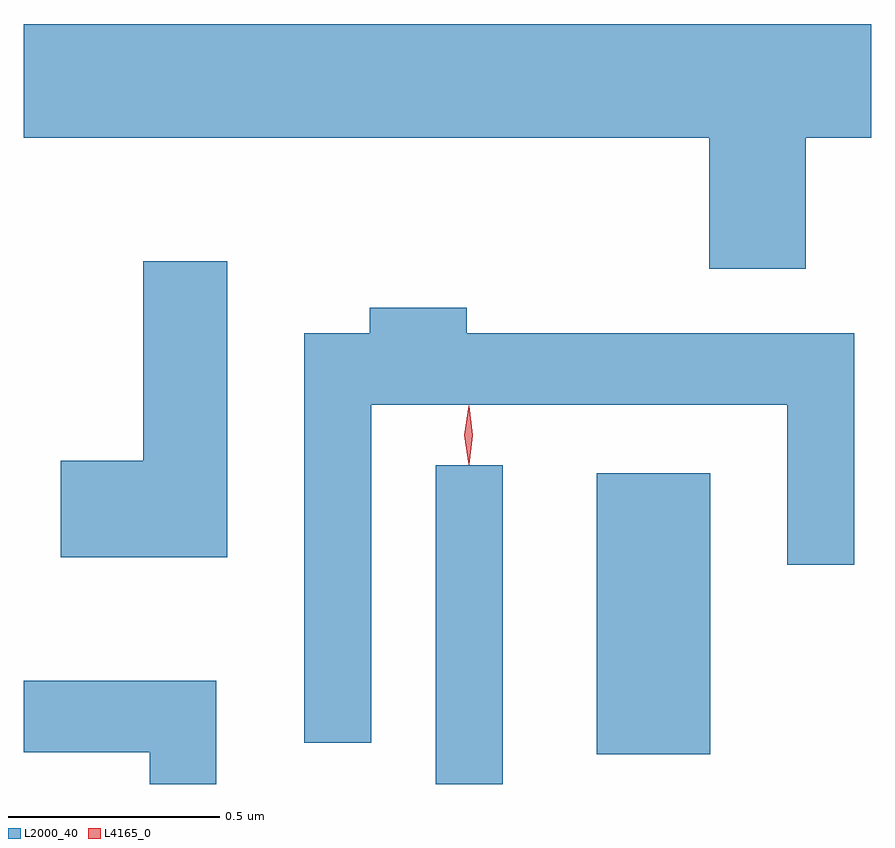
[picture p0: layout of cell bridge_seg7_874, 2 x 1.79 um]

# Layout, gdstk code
import gdstk
lib = gdstk.Library(unit=1e-6, precision=1e-09)
def R(c, l, rs):  # rectangles x0, y0, x1, y1
    for r in rs: c.add(gdstk.rectangle(r[:2], r[2:], *l))
def P(c, l, *ps):  # polygons
    for p in ps: c.add(gdstk.Polygon(p, *l))
L2000_40 = (2000, 40)
L4165_0 = (4165, 0)

bridge_seg7_874 = lib.new_cell('bridge_seg7_874')
R(bridge_seg7_874, L2000_40, [(320.326,1692.811,320.484,1693.563), (320.706,1692.881,320.974,1693.544)])
P(bridge_seg7_874, L2000_40, [(321.199,1694.336),(321.354,1694.336),(321.354,1694.604),(319.354,1694.604),(319.354,1694.336),(320.971,1694.336),(320.971,1694.026),(321.199,1694.026)],
  [(319.834,1694.044),(319.636,1694.044),(319.636,1693.574),(319.441,1693.574),(319.441,1693.346),(319.834,1693.346)],
  [(320.174,1693.706),(321.156,1693.706),(321.156,1693.328),(321.314,1693.328),(321.314,1693.874),(320.399,1693.874),(320.399,1693.934),(320.171,1693.934),(320.171,1693.874),(320.016,1693.874),(320.016,1692.908),(320.174,1692.908)],
  [(319.809,1693.054),(319.354,1693.054),(319.354,1692.886),(319.651,1692.886),(319.651,1692.811),(319.809,1692.811)])
P(bridge_seg7_874, L4165_0, [(320.404,1693.564),(320.404,1693.564),(320.394,1693.634),(320.404,1693.703),(320.404,1693.703),(320.405,1693.703),(320.414,1693.634),(320.405,1693.564)])

lib.write_gds('bridge_seg7_874.gds')
